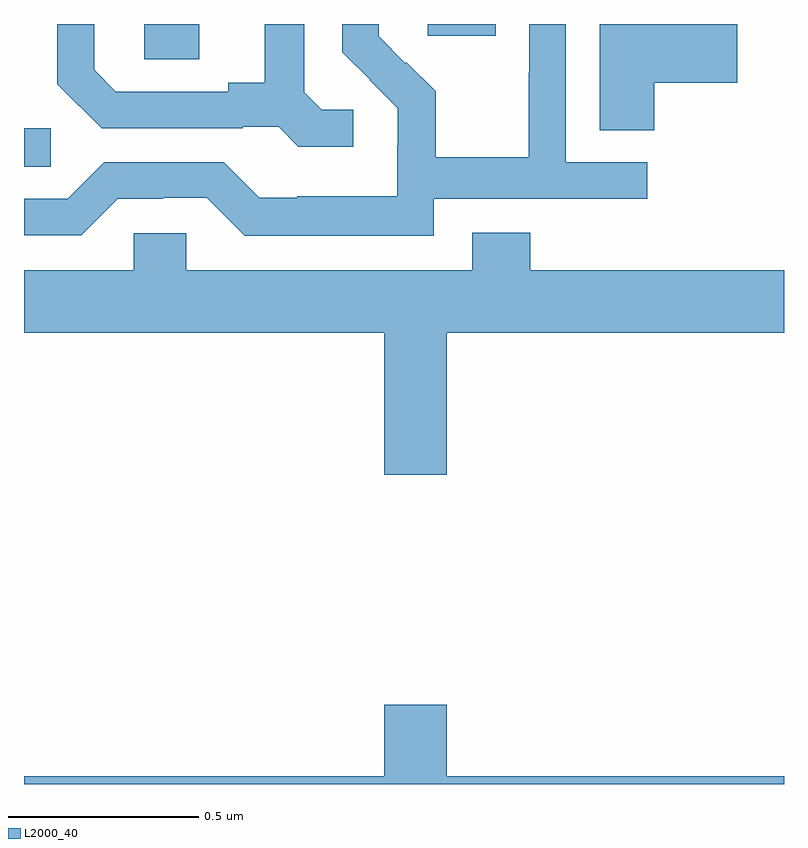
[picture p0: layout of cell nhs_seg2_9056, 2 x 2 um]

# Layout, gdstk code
import gdstk
lib = gdstk.Library(unit=1e-6, precision=1e-09)
def R(c, l, rs):  # rectangles x0, y0, x1, y1
    for r in rs: c.add(gdstk.rectangle(r[:2], r[2:], *l))
def P(c, l, *ps):  # polygons
    for p in ps: c.add(gdstk.Polygon(p, *l))
L2000_40 = (2000, 40)

nhs_seg2_9056 = lib.new_cell('nhs_seg2_9056')
R(nhs_seg2_9056, L2000_40, [(224,629.425,224.071,629.526), (224.316,629.707,224.461,629.8), (225.062,629.769,225.241,629.8)])
P(nhs_seg2_9056, L2000_40, [(224.866,629.574),(224.784,629.574),(224.737,629.621),(224.737,629.8),(224.633,629.8),(224.633,629.645),(224.537,629.645),(224.537,629.622),(224.242,629.622),(224.185,629.679),(224.185,629.8),(224.088,629.8),(224.088,629.642),(224.204,629.526),(224.576,629.526),(224.576,629.529),(224.67,629.529),(224.722,629.477),(224.866,629.477)],
  [(225.078,629.34),(225.64,629.34),(225.64,629.436),(225.426,629.436),(225.426,629.8),(225.33,629.8),(225.33,629.672),(225.328,629.672),(225.328,629.449),(225.083,629.449),(225.083,629.623),(225.006,629.7),(225.003,629.697),(224.933,629.768),(224.933,629.8),(224.838,629.8),(224.838,629.726),(224.911,629.653),(224.91,629.652),(224.984,629.578),(224.984,629.481),(224.982,629.481),(224.982,629.347),(224.719,629.347),(224.719,629.343),(224.619,629.343),(224.526,629.436),(224.211,629.436),(224.115,629.34),(224,629.34),(224,629.244),(224.151,629.244),(224.247,629.34),(224.366,629.34),(224.366,629.343),(224.481,629.343),(224.581,629.243),(225.078,629.243)],
  [(225.659,629.645),(225.877,629.645),(225.877,629.8),(225.515,629.8),(225.515,629.521),(225.659,629.521)],
  [(225.112,628.988),(226,628.988),(226,629.152),(225.332,629.152),(225.332,629.251),(225.179,629.251),(225.179,629.152),(224.427,629.152),(224.427,629.25),(224.289,629.25),(224.289,629.152),(224,629.152),(224,628.988),(224.948,628.988),(224.948,628.614),(225.112,628.614)],
  [(226,627.82),(225.112,627.82),(225.112,628.009),(224.948,628.009),(224.948,627.82),(224,627.82),(224,627.8),(226,627.8)])

lib.write_gds('nhs_seg2_9056.gds')
